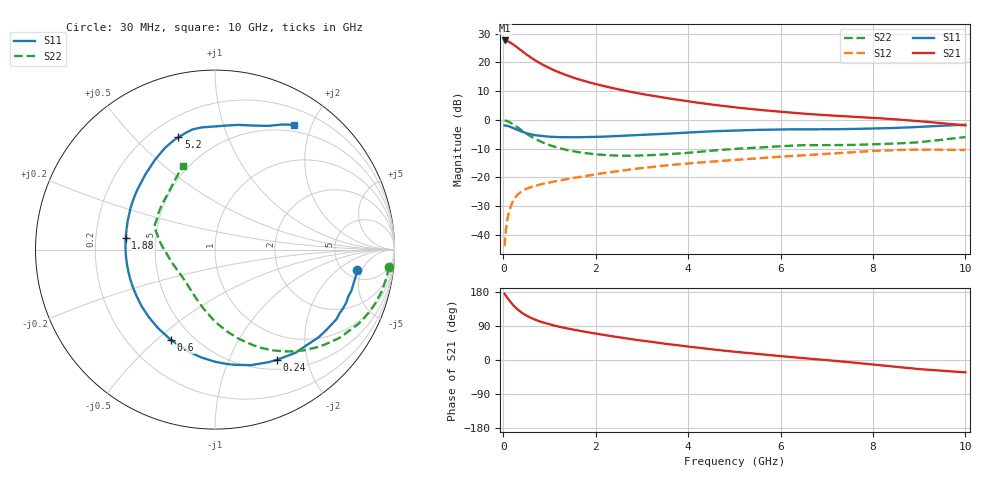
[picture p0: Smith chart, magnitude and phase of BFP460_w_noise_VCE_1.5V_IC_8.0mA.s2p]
! (c) 2016  Infineon Technologies AG, Munich
! Infineon Technologies  Discrete & RF Semiconductors
! BFP460
! VCE =  1.5 V,  IC =  8.0 mA
! Common Emitter S-Parameters:  Jan 2016
# GHz  S  MA  R  50
!  f  S11  S21  S12  S22
! GHz  MAG  ANG  MAG  ANG  MAG  ANG  MAG  ANG
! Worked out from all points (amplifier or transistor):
!   229 points, 30 MHz to 10 GHz, reference 50 ohm
!   highest |S21| = 27.7 dB at 30 MHz (marker M1)
!   |S21| within 3 dB of that: start of sweep to 349.2 MHz
!   unconditionally stable (mu >= 1): 2.611 GHz to 8.935 GHz
!   at 280 MHz: K = 0.23, MSG = 26.1 dB, |S12| = -26.7 dB
!   at 1.78 GHz: K = 0.89, MSG = 16.5 dB, |S12| = -19.6 dB
!   at 10 GHz: K = 0.99, MSG = 4.3 dB, |S12| = -10.5 dB
!   lowest NFmin = 0.89 dB at 450 MHz
!   S11 on the Smith chart (normalised r, x): 30 MHz: 6.32, -4.02; 240 MHz: 0.62, -1.52; 600 MHz: 0.38, -0.56; 1.88 GHz: 0.33, +0.06; 5.2 GHz: 0.31, +0.68; 10 GHz: 0.41, +1.74
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0.03  0.7985 -8.3  24.13 174.9  0.0063 85.2  0.9736 -5.7
0.07  0.7874 -19.4  23.85 167.0  0.0145 80.3  0.9592 -13.3
0.14  0.7615 -37.6  22.52 155.8  0.0274 71.5  0.909 -25.7
0.2  0.7291 -52.0  21.02 146.9  0.0368 65.0  0.8508 -35.3
0.24  0.7046 -60.7  19.92 141.7  0.0419 61.2  0.8086 -40.9
0.3  0.6739 -72.8  18.34 134.5  0.0486 56.5  0.747 -48.8
0.4  0.6249 -90.0  15.88 124.8  0.0568 50.7  0.6528 -59.5
0.5  0.5876 -104.2  13.81 117.2  0.0629 46.8  0.5748 -68.1
0.6  0.56 -116.1  12.12 110.9  0.0675 44.1  0.5121 -75.3
0.7  0.5403 -126.1  10.75 105.7  0.0714 42.4  0.4619 -81.5
0.8  0.5263 -134.7  9.635 101.3  0.0748 41.3  0.4216 -86.8
1  0.5088 -148.8  7.958 94.1  0.0811 40.2  0.3627 -95.8
1.3  0.4986 -165.0  6.276 85.4  0.0902 39.7  0.3084 -106.8
1.7  0.4989 178.8  4.89 76.0  0.1027 39.6  0.2682 -118.6
1.88  0.5016 172.6  4.45 72.1  0.1085 39.4  0.257 -123.5
2.6  0.5282 151.9  3.254 58.1  0.132 37.6  0.2368 -142.5
3.4  0.5655 134.4  2.49 44.8  0.1568 34.0  0.2475 -160.9
5.1  0.6558 109.0  1.622 20.7  0.2026 25.5  0.3152 170.3
5.2  0.6587 108.0  1.591 19.6  0.2055 24.9  0.3182 169.3
6.8  0.6843 93.4  1.233 1.8  0.2495 15.8  0.3626 157.9
8.4  0.7197 73.9  1.032 -16.9  0.2962 3.2  0.3842 141.5
10  0.8214 57.8  0.799 -32.6  0.2986 -8.7  0.5009 111.0
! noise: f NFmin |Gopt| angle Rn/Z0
0.45  0.89  0.2  13  0.14
1.9  1.1  0.09  121  0.12
3.5  1.17  0.33  -142  0.11
